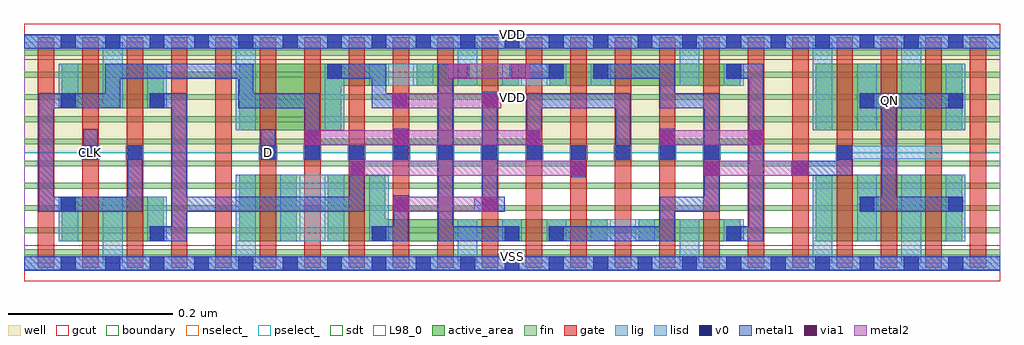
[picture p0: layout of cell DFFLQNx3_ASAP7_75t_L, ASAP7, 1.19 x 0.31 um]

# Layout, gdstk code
import gdstk
lib = gdstk.Library(unit=1e-6, precision=2.5e-10)
def R(c, l, rs):  # rectangles x0, y0, x1, y1
    for r in rs: c.add(gdstk.rectangle(r[:2], r[2:], *l))
def A(c, l, x, y, w, h, nx, ny, dx, dy):  # array of equal rectangles
    R(c, l, [(x+i*dx, y+j*dy, x+i*dx+w, y+j*dy+h) for i in range(nx) for j in range(ny)])
def P(c, l, *ps):  # polygons
    for p in ps: c.add(gdstk.Polygon(p, *l))
well = (1, 0)
fin = (2, 0)
gate = (7, 0)
gcut = (10, 0)
active_area = (11, 0)
nselect_ = (12, 0)
pselect_ = (13, 0)
lig = (16, 0)
lisd = (17, 0)
v0 = (18, 0)
metal1 = (19, 0)
metal2 = (20, 0)
via1 = (21, 0)
sdt = (88, 0)
L98_0 = (98, 0)
boundary = (100, 0)

dfflqnx3_asap7_75t_l = lib.new_cell('DFFLQNx3_ASAP7_75t_L')
R(dfflqnx3_asap7_75t_l, well, [(0,0.135,1.188,0.27)])
A(dfflqnx3_asap7_75t_l, fin, 0, 0.01, 1.188, 0.007, 1, 10, 0, 0.027)
A(dfflqnx3_asap7_75t_l, gate, 0.017, -0.005, 0.02, 0.28, 22, 1, 0.054, 0)
R(dfflqnx3_asap7_75t_l, gcut, [(0,-0.022,1.188,0.022), (0,0.248,1.188,0.292)])
R(dfflqnx3_asap7_75t_l, active_area, [(0.046,0.027,0.17,0.081), (0.262,0.027,0.332,0.108), (0.748,0.027,0.872,0.054), (0.964,0.027,1.142,0.108), (0.964,0.162,1.142,0.243), (0.046,0.189,0.17,0.243), (0.478,0.216,0.602,0.243), (0.64,0.216,0.872,0.243)])
P(dfflqnx3_asap7_75t_l, active_area, [(0.37,0.027),(0.37,0.108),(0.44,0.108),(0.44,0.054),(0.71,0.054),(0.71,0.027)],
  [(0.262,0.162),(0.262,0.243),(0.44,0.243),(0.44,0.216),(0.386,0.216),(0.386,0.162)])
R(dfflqnx3_asap7_75t_l, nselect_, [(0,0,1.188,0.135)])
R(dfflqnx3_asap7_75t_l, pselect_, [(0,0.135,1.188,0.27)])
A(dfflqnx3_asap7_75t_l, lig, 0.286, 0.126, 0.022, 0.018, 11, 1, 0.054, 0)
R(dfflqnx3_asap7_75t_l, lig, [(0,-0.008,1.188,0.008), (0.07,0.126,0.092,0.144), (0.124,0.126,0.146,0.144), (0.988,0.126,1.01,0.144), (0.988,0.127,1.118,0.143), (0,0.262,1.188,0.278)])
R(dfflqnx3_asap7_75t_l, lisd, [(0.096,0,0.12,0.081), (0.096,0,0.12,0.081), (0.258,0,0.282,0.108), (0.258,0,0.282,0.108), (0.528,0,0.552,0.054), (0.798,0,0.822,0.054), (0.96,0,0.984,0.108), (0.96,0,0.984,0.108), (1.068,0,1.092,0.108), (1.068,0,1.092,0.108), (0.042,0.027,0.066,0.081), (0.15,0.027,0.174,0.081), (0.312,0.027,0.39,0.108), (0.42,0.027,0.444,0.108), (0.582,0.027,0.606,0.054), (0.636,0.027,0.66,0.054), (0.69,0.027,0.768,0.054), (0.852,0.027,0.876,0.054), (1.014,0.027,1.038,0.108), (1.122,0.027,1.146,0.108), (0.258,0.162,0.282,0.27), (0.258,0.162,0.282,0.27), (0.366,0.162,0.39,0.243), (0.96,0.162,0.984,0.27), (0.96,0.162,0.984,0.27), (1.014,0.162,1.038,0.243), (1.068,0.162,1.092,0.27), (1.068,0.162,1.092,0.27), (1.122,0.162,1.146,0.243), (0.042,0.189,0.066,0.243), (0.096,0.189,0.12,0.27), (0.096,0.189,0.12,0.27), (0.15,0.189,0.174,0.243), (0.42,0.216,0.498,0.243), (0.528,0.216,0.552,0.27), (0.582,0.216,0.66,0.243), (0.582,0.216,0.606,0.243), (0.69,0.216,0.714,0.243), (0.798,0.216,0.822,0.27), (0.852,0.216,0.876,0.243)])
A(dfflqnx3_asap7_75t_l, v0, 0.045, -0.009, 0.018, 0.018, 21, 2, 0.054, 0.27)
A(dfflqnx3_asap7_75t_l, v0, 0.288, 0.126, 0.018, 0.018, 11, 1, 0.054, 0)
R(dfflqnx3_asap7_75t_l, v0, [(0.153,0.027,0.171,0.045), (0.423,0.027,0.441,0.045), (0.585,0.027,0.603,0.045), (0.639,0.027,0.657,0.045), (0.855,0.027,0.873,0.045), (0.045,0.063,0.063,0.081), (1.017,0.063,1.035,0.081), (1.125,0.063,1.143,0.081), (0.072,0.126,0.09,0.144), (0.126,0.126,0.144,0.144), (0.99,0.126,1.008,0.144), (0.045,0.189,0.063,0.207), (0.153,0.189,0.171,0.207), (1.017,0.189,1.035,0.207), (1.125,0.189,1.143,0.207), (0.369,0.225,0.387,0.243), (0.639,0.225,0.657,0.243), (0.693,0.225,0.711,0.243), (0.855,0.225,0.873,0.243)])
A(dfflqnx3_asap7_75t_l, metal1, 0.288, 0.126, 0.018, 0.018, 11, 1, 0.054, 0)
A(dfflqnx3_asap7_75t_l, metal1, 0.342, 0.144, 0.018, 0.018, 3, 1, 0.27, 0)
R(dfflqnx3_asap7_75t_l, metal1, [(0,-0.009,1.188,0.009), (0.153,0.027,0.171,0.045), (0.423,0.027,0.441,0.045), (0.585,0.027,0.603,0.045), (0.639,0.027,0.657,0.045), (0.855,0.027,0.873,0.045), (0.045,0.063,0.063,0.081), (0.45,0.063,0.468,0.083), (0.548,0.063,0.585,0.081), (0.558,0.063,0.576,0.207), (1.017,0.063,1.035,0.081), (1.125,0.063,1.143,0.081), (0.666,0.105,0.684,0.125), (0.396,0.107,0.414,0.125), (0.666,0.107,0.684,0.144), (0.828,0.107,0.846,0.125), (0.934,0.107,0.956,0.125), (0.072,0.126,0.09,0.144), (0.072,0.126,0.09,0.163), (0.126,0.126,0.144,0.144), (0.288,0.126,0.306,0.163), (0.45,0.126,0.468,0.163), (0.774,0.126,0.792,0.163), (0.99,0.126,1.008,0.144), (0.45,0.144,0.468,0.164), (0.774,0.144,0.792,0.164), (0.045,0.189,0.063,0.207), (0.153,0.189,0.171,0.207), (0.45,0.189,0.468,0.207), (0.558,0.189,0.576,0.209), (1.017,0.189,1.035,0.207), (1.125,0.189,1.143,0.207), (0.369,0.225,0.387,0.243), (0.591,0.225,0.657,0.243), (0.693,0.225,0.711,0.243), (0.855,0.225,0.873,0.243), (0,0.261,1.188,0.279)])
P(dfflqnx3_asap7_75t_l, metal1, [(0.504,0.027),(0.504,0.243),(0.542,0.243),(0.542,0.225),(0.522,0.225),(0.522,0.045),(0.603,0.045),(0.603,0.027)],
  [(0.018,0.063),(0.018,0.207),(0.099,0.207),(0.099,0.243),(0.279,0.243),(0.279,0.207),(0.36,0.207),(0.36,0.126),(0.342,0.126),(0.342,0.189),(0.261,0.189),(0.261,0.225),(0.117,0.225),(0.117,0.189),(0.036,0.189),(0.036,0.081),(0.126,0.081),(0.126,0.144),(0.144,0.144),(0.144,0.063)],
  [(0.612,0.126),(0.612,0.207),(0.738,0.207),(0.738,0.126),(0.72,0.126),(0.72,0.189),(0.63,0.189),(0.63,0.126)],
  [(0.153,0.027),(0.153,0.045),(0.18,0.045),(0.18,0.189),(0.153,0.189),(0.153,0.207),(0.198,0.207),(0.198,0.081),(0.396,0.081),(0.396,0.144),(0.414,0.144),(0.414,0.063),(0.198,0.063),(0.198,0.027)],
  [(0.423,0.189),(0.423,0.225),(0.369,0.225),(0.369,0.243),(0.441,0.243),(0.441,0.207),(0.468,0.207),(0.468,0.189)],
  [(0.423,0.027),(0.423,0.045),(0.45,0.045),(0.45,0.081),(0.468,0.081),(0.468,0.027)],
  [(0.639,0.027),(0.639,0.045),(0.774,0.045),(0.774,0.081),(0.828,0.081),(0.828,0.189),(0.774,0.189),(0.774,0.225),(0.693,0.225),(0.693,0.243),(0.792,0.243),(0.792,0.207),(0.846,0.207),(0.846,0.063),(0.792,0.063),(0.792,0.027)],
  [(0.936,0.107),(0.936,0.125),(0.99,0.125),(0.99,0.144),(1.008,0.144),(1.008,0.107)],
  [(0.855,0.027),(0.855,0.045),(0.882,0.045),(0.882,0.225),(0.855,0.225),(0.855,0.243),(0.9,0.243),(0.9,0.027)],
  [(1.017,0.063),(1.017,0.081),(1.044,0.081),(1.044,0.189),(1.017,0.189),(1.017,0.207),(1.143,0.207),(1.143,0.189),(1.062,0.189),(1.062,0.081),(1.143,0.081),(1.143,0.063)])
R(dfflqnx3_asap7_75t_l, metal2, [(0.45,0.063,0.576,0.081), (0.396,0.107,0.684,0.125), (0.828,0.107,0.954,0.125), (0.342,0.144,0.63,0.162), (0.774,0.144,0.9,0.162), (0.448,0.189,0.581,0.207), (0.516,0.225,0.616,0.243)])
A(dfflqnx3_asap7_75t_l, via1, 0.45, 0.144, 0.018, 0.018, 3, 1, 0.162, 0)
R(dfflqnx3_asap7_75t_l, via1, [(0.45,0.063,0.468,0.081), (0.558,0.063,0.576,0.081), (0.396,0.107,0.414,0.125), (0.666,0.107,0.684,0.125), (0.828,0.107,0.846,0.125), (0.936,0.107,0.954,0.125), (0.342,0.144,0.36,0.162), (0.882,0.144,0.9,0.162), (0.448,0.189,0.466,0.207), (0.558,0.189,0.576,0.207), (0.522,0.225,0.54,0.243), (0.593,0.225,0.611,0.243)])
A(dfflqnx3_asap7_75t_l, sdt, 0.258, 0.027, 0.024, 0.081, 4, 1, 0.054, 0)
A(dfflqnx3_asap7_75t_l, sdt, 0.528, 0.027, 0.024, 0.027, 7, 1, 0.054, 0)
A(dfflqnx3_asap7_75t_l, sdt, 0.96, 0.027, 0.024, 0.081, 3, 2, 0.054, 0.135)
A(dfflqnx3_asap7_75t_l, sdt, 0.42, 0.216, 0.024, 0.027, 6, 1, 0.054, 0)
R(dfflqnx3_asap7_75t_l, sdt, [(0.042,0.027,0.066,0.081), (0.096,0.027,0.12,0.081), (0.096,0.027,0.12,0.081), (0.15,0.027,0.174,0.081), (0.96,0.027,0.984,0.108), (1.068,0.027,1.092,0.108), (1.122,0.027,1.146,0.108), (0.258,0.162,0.282,0.243), (0.258,0.162,0.282,0.243), (0.366,0.162,0.39,0.243), (0.96,0.162,0.984,0.243), (1.068,0.162,1.092,0.243), (1.122,0.162,1.146,0.243), (0.042,0.189,0.066,0.243), (0.096,0.189,0.12,0.243), (0.096,0.189,0.12,0.243), (0.15,0.189,0.174,0.243), (0.798,0.216,0.822,0.243), (0.852,0.216,0.876,0.243)])
R(dfflqnx3_asap7_75t_l, L98_0, [(0,0,1.188,0.27)])
R(dfflqnx3_asap7_75t_l, boundary, [(0,0,1.188,0.27)])
dfflqnx3_asap7_75t_l.add(gdstk.Label('VDD', (0.594,0.2025), layer=1, texttype=251))
dfflqnx3_asap7_75t_l.add(gdstk.Label('VSS', (0.594,-0.0675), layer=3, texttype=251))
dfflqnx3_asap7_75t_l.add(gdstk.Label('VSS', (0.594,0.009), layer=19, texttype=251))
dfflqnx3_asap7_75t_l.add(gdstk.Label('VDD', (0.594,0.279), layer=19, texttype=251))
dfflqnx3_asap7_75t_l.add(gdstk.Label('CLK', (0.081,0.135), layer=19, texttype=251))
dfflqnx3_asap7_75t_l.add(gdstk.Label('D', (0.297,0.135), layer=19, texttype=251))
dfflqnx3_asap7_75t_l.add(gdstk.Label('QN', (1.053,0.198), layer=19, texttype=251))

lib.write_gds('DFFLQNx3_ASAP7_75t_L.gds')
